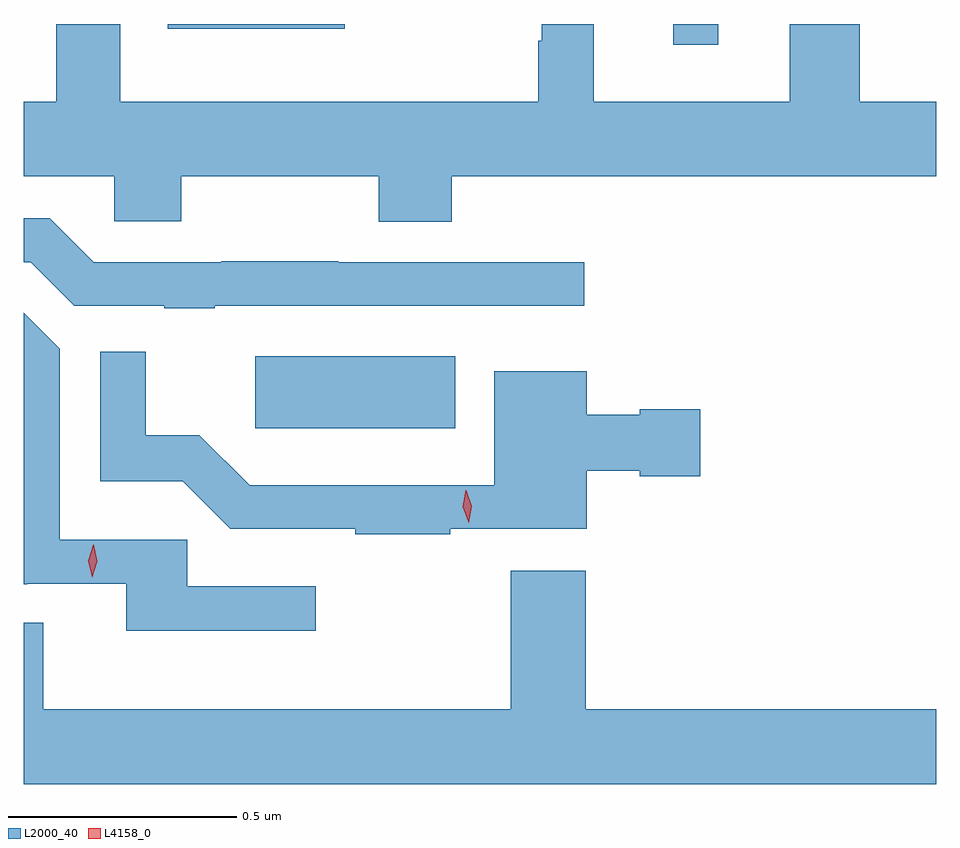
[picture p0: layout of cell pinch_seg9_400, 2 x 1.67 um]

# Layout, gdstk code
import gdstk
lib = gdstk.Library(unit=1e-6, precision=1e-09)
def R(c, l, rs):  # rectangles x0, y0, x1, y1
    for r in rs: c.add(gdstk.rectangle(r[:2], r[2:], *l))
def P(c, l, *ps):  # polygons
    for p in ps: c.add(gdstk.Polygon(p, *l))
L2000_40 = (2000, 40)
L4158_0 = (4158, 0)

pinch_seg9_400 = lib.new_cell('pinch_seg9_400')
R(pinch_seg9_400, L2000_40, [(306.171,1229.168,306.61,1229.326), (307.088,1230.009,307.186,1230.054), (305.979,1230.044,306.367,1230.054)])
P(pinch_seg9_400, L2000_40, [(306.602,1229.72),(307.664,1229.72),(307.664,1229.884),(307.496,1229.884),(307.496,1230.054),(307.343,1230.054),(307.343,1229.884),(306.913,1229.884),(306.913,1230.054),(306.799,1230.054),(306.799,1230.017),(306.792,1230.017),(306.792,1229.884),(305.875,1229.884),(305.875,1230.054),(305.735,1230.054),(305.735,1229.884),(305.664,1229.884),(305.664,1229.72),(305.862,1229.72),(305.862,1229.622),(306.009,1229.622),(306.009,1229.72),(306.442,1229.72),(306.442,1229.621),(306.602,1229.621)],
  [(306.083,1229.436),(306.892,1229.436),(306.892,1229.532),(306.353,1229.532),(306.353,1229.534),(306.097,1229.534),(306.097,1229.532),(305.817,1229.532),(305.721,1229.628),(305.664,1229.628),(305.664,1229.532),(305.679,1229.532),(305.775,1229.436),(305.972,1229.436),(305.972,1229.431),(306.083,1229.431)],
  [(306.304,1228.821),(306.022,1228.821),(306.022,1228.923),(305.743,1228.923),(305.743,1229.342),(305.664,1229.421),(305.664,1228.826),(305.671,1228.826),(305.671,1228.827),(305.888,1228.827),(305.888,1228.724),(306.304,1228.724)],
  [(306.599,1228.947),(306.898,1228.947),(306.898,1229.075),(307.014,1229.075),(307.014,1229.063),(307.147,1229.063),(307.147,1229.21),(307.014,1229.21),(307.014,1229.197),(306.898,1229.197),(306.898,1229.293),(306.695,1229.293),(306.695,1229.043),(306.159,1229.043),(306.049,1229.153),(305.931,1229.153),(305.931,1229.335),(305.832,1229.335),(305.832,1229.052),(306.012,1229.052),(306.117,1228.947),(306.391,1228.947),(306.391,1228.935),(306.599,1228.935)],
  [(307.664,1228.552),(306.896,1228.552),(306.896,1228.855),(306.731,1228.855),(306.731,1228.552),(305.707,1228.552),(305.707,1228.741),(305.664,1228.741),(305.664,1228.388),(307.664,1228.388)])
P(pinch_seg9_400, L4158_0, [(305.814,1228.841),(305.814,1228.841),(305.805,1228.877),(305.816,1228.912),(305.816,1228.912),(305.817,1228.912),(305.825,1228.876),(305.814,1228.841)],
  [(306.639,1228.961),(306.639,1228.961),(306.626,1228.996),(306.633,1229.032),(306.634,1229.032),(306.634,1229.032),(306.646,1228.997),(306.639,1228.961)])

lib.write_gds('pinch_seg9_400.gds')
